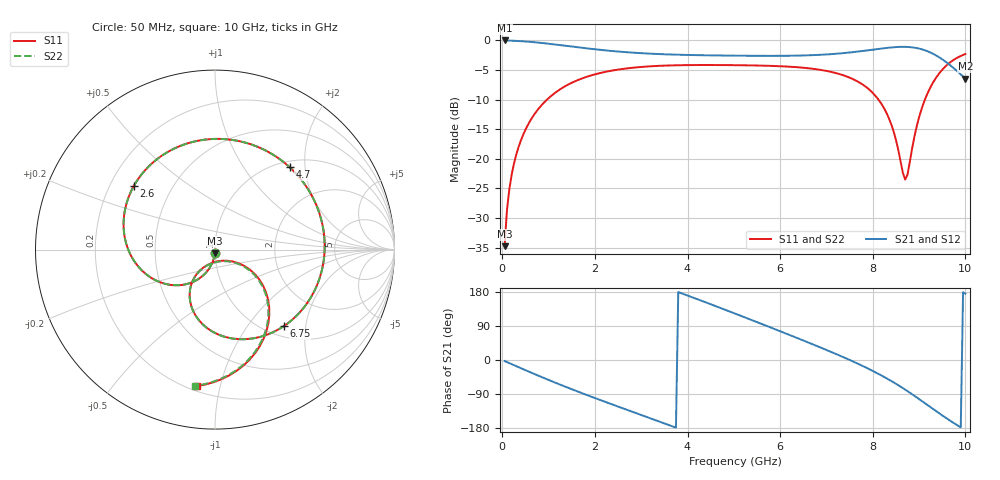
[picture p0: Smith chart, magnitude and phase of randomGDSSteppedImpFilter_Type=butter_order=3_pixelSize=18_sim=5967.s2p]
! freq	dB(S11)	phase(S11)	dB(S12)	phase(S12)
!  dB(S21)	phase(S21)	dB(S22)	phase(S22)
!S-par simulation data
#  GHz  S  DB  R 50
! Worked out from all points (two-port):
!   200 points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, 50 MHz to 10 GHz, reference 50 ohm
!   highest |S21| = 0.00 dB at 50 MHz (marker M1); lowest = -6.5 dB at 10 GHz (marker M2)
!   |S21| within 3 dB of the highest: start of sweep to 9.465 GHz
!   lowest |S11| = -34.8 dB at 50 MHz (marker M3), VSWR 1.04, Z = 49.9 - j1.82 ohm
!   |S11| at or under -10 dB: start of sweep to 966.1 MHz; 8.122 GHz to 9.127 GHz (1.004 GHz wide, 11.6 % of centre)
!   |S22| runs from -34.8 to -2.3 dB; largest |S21 - S12| = 0
!   S11 on the Smith chart (normalised r, x): 50 MHz: 1.00, -0.04; 2.6 GHz: 0.30, +0.32; 4.7 GHz: 1.11, +1.66; 6.75 GHz: 1.19, -1.52; 10 GHz: 0.23, -0.85
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0.05  -34.77 -92.7  -0.00 -2.7  -0.00 -2.7  -34.77 -92.7
0.1  -28.77 -95.6  -0.01 -5.5  -0.01 -5.5  -28.77 -95.6
0.2  -22.80 -101.2  -0.04 -10.9  -0.04 -10.9  -22.80 -101.2
0.5  -15.09 -117.4  -0.18 -26.8  -0.18 -26.8  -15.09 -117.4
1.1  -9.09 -148.3  -0.65 -57.7  -0.65 -57.7  -9.09 -148.3
1.75  -6.34 -179.5  -1.27 -88.9  -1.27 -88.9  -6.34 -179.6
2.6  -4.81 142.1  -1.94 -127.3  -1.94 -127.3  -4.82 142.0
3.4  -4.29 106.7  -2.31 -162.8  -2.31 -162.8  -4.29 106.5
4.05  -4.16 77.5  -2.46 167.9  -2.46 167.9  -4.16 77.3
4.7  -4.16 47.9  -2.55 137.8  -2.55 137.8  -4.16 47.6
5.05  -4.18 31.7  -2.58 121.4  -2.58 121.4  -4.18 31.4
5.85  -4.31 -5.6  -2.61 83.2  -2.61 83.2  -4.31 -5.9
6.7  -4.78 -45.7  -2.49 41.6  -2.49 41.6  -4.78 -46.0
6.75  -4.83 -48.1  -2.47 39.1  -2.47 39.1  -4.83 -48.4
7.65  -6.84 -92.2  -1.91 -8.2  -1.91 -8.2  -6.84 -92.4
8  -8.88 -110.0  -1.56 -28.8  -1.56 -28.8  -8.87 -110.1
8.35  -13.18 -125.3  -1.22 -51.9  -1.22 -51.9  -13.16 -125.2
8.7  -23.51 -80.9  -1.09 -78.1  -1.09 -78.1  -23.17 -81.4
9  -12.98 -29.9  -1.37 -103.1  -1.37 -103.1  -12.96 -31.0
9.35  -6.50 -50.2  -2.46 -133.4  -2.46 -133.4  -6.50 -51.1
9.65  -3.84 -72.6  -4.05 -158.5  -4.05 -158.5  -3.84 -73.3
10  -2.30 -97.7  -6.47 175.0  -6.47 175.0  -2.30 -98.4
